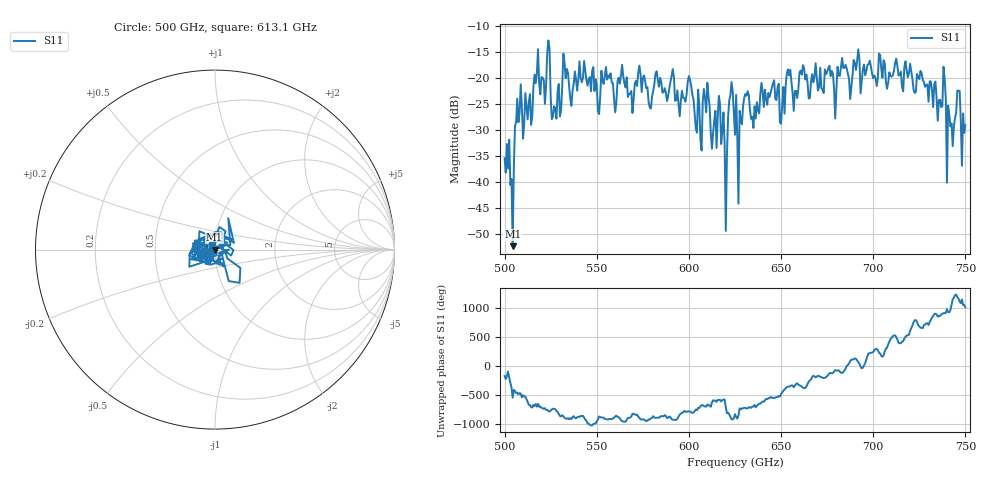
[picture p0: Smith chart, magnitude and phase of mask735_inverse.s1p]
!Created with skrf (http://scikit-rf.org).
# GHz S MA R 50.0
!freq magS11 angS11
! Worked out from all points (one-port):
!   401 points, 500 GHz to 750 GHz, reference 50 ohm
!   lowest |S11| = -52.2 dB at 504.4 GHz (marker M1), VSWR 1.00, Z = 49.8 + j0.0281 ohm
!   |S11| at or under -10 dB: start of sweep to end of sweep
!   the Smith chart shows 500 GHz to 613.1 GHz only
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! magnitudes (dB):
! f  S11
! 500 GHz  -35.4
! 504.4 GHz  -52.2
! 507.5 GHz  -28.5
! 513.8 GHz  -23.1
! 516.9 GHz  -21.0
! 523.8 GHz  -12.8
! 526.9 GHz  -25.4
! 531.2 GHz  -21.7
! 562.5 GHz  -21.1
! 593.8 GHz  -22.3
! 600.6 GHz  -20.4
! 605.6 GHz  -25.2
! 609.4 GHz  -26.5
! 613.8 GHz  -28.0
! 617.5 GHz  -32.6
! 619.4 GHz  -32.5
! 622.5 GHz  -23.3
! 625 GHz  -30.9
! 627.5 GHz  -26.3
! 631.2 GHz  -23.4
! 635 GHz  -29.6
! 656.2 GHz  -22.8
! 687.5 GHz  -24.0
! 718.8 GHz  -19.8
! 738.1 GHz  -17.8
! 741.2 GHz  -26.9
! 745.6 GHz  -22.4
! 750 GHz  -29.0
